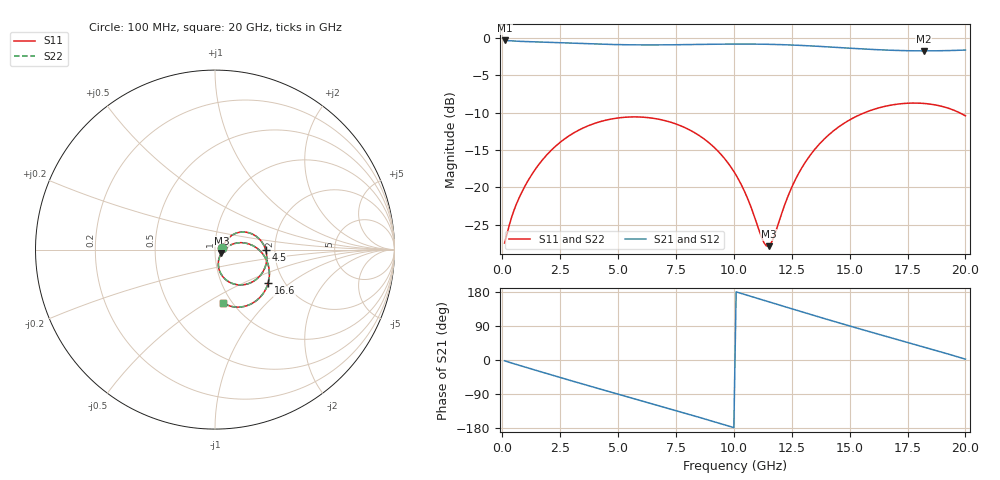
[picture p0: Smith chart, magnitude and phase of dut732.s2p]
! Touchstone file exported from HFSS 2026.1.0
!  File:  C:/ffzhzh/LocalFiles/Ansys_Project_Files/temp_train_TSV_RDL_732_1783203361_22436.aedt
!  Generated:  06:28:34 AM Jul  5, 2026
!  Design:  TSV_RDL
!  Project:  temp_train_TSV_RDL_732_1783203361_22436
! Variables:
!  h_bsmrdl = 2.41um
!  h_ox = 20um
!  h_rdl = 5um
!  h_sub = 92.15um
!  h_tmrdl = 3.79um
!  h_tsv = 92.15um
!  h_via = 3um
!  l_bsmrdl = 723.79um
!  l_sub = 5697.97um
!  l_tmrdl = 747.84um
!  m_sub = 200um
!  pitch = 32.09um
!  r_tsv = 2.32um
!  s_tmrdl = 10um
!  w_bsmrdl = 17.16um
!  w_sub = 500um
!  w_tmrdl = 27.92um
!  x_tsv_center1 = 761.8um
!  x_tsv_center2 = 1502.75um
!  x_tsv_center3 = 2278.51um
!  x_tsv_center4 = 3019.46um
!  x_tsv_center5 = 3795.22um
!  x_tsv_center6 = 4536.17um
# GHz S MA R 50.000000
! Terminal data exported
! Port[1] = TM_RDL1_1_T1
! Port[2] = TM_RDL5_1_T1
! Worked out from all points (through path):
!   200 points, 100 MHz to 20 GHz, reference 50 ohm
!   highest |S21| = -0.36 dB at 100 MHz (marker M1); lowest = -1.8 dB at 18.2 GHz (marker M2)
!   group delay of S21, straight-line fit = 49.7 ps
!   lowest |S11| = -27.9 dB at 11.5 GHz (marker M3), VSWR 1.08, Z = 53.7 - j1.96 ohm
!   |S11| at or under -10 dB: start of sweep to 15.66 GHz; 19.73 GHz to end of sweep
!   |S22| runs from -27.7 to -8.7 dB; largest |S21 - S12| = 2.5e-14
!   S11 on the Smith chart (normalised r, x): 100 MHz: 1.09, +0.02; 4.5 GHz: 1.79, -0.00; 16.6 GHz: 1.65, -0.70; 20 GHz: 0.91, -0.60
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0.1  0.0425 14.5  0.9592 -2.1  0.9592 -2.1  0.0425 14.5
! Gamma 0 0 0 0
! Port Impedance 50 0 50 0
0.6  0.0767 37.8  0.9484 -11.6  0.9484 -11.6  0.07669 37.8
1.4  0.1304 39.8  0.9391 -26.2  0.9391 -26.2  0.1304 39.8
2.5  0.2002 28.9  0.9259 -46.2  0.9259 -46.2  0.2002 28.9
3.5  0.2498 14.9  0.9135 -63.9  0.9135 -63.9  0.2498 15.0
4.5  0.282 -0.0  0.9033 -81.4  0.9033 -81.4  0.2819 0.0
5.6  0.2958 -16.8  0.8968 -100.4  0.8968 -100.4  0.2957 -16.8
6.8  0.2845 -35.2  0.8959 -121.2  0.8959 -121.2  0.2845 -35.1
8.6  0.217 -61.7  0.9027 -153.0  0.9027 -153.0  0.2171 -61.5
9.4  0.1692 -72.0  0.9062 -167.5  0.9062 -167.5  0.1692 -71.8
10.1  0.1205 -78.1  0.9079 179.7  0.9079 179.7  0.1206 -77.8
10.6  0.0839 -77.5  0.9078 170.5  0.9078 170.5  0.08415 -77.1
11.3  0.04271 -47.4  0.9054 157.5  0.9054 157.5  0.04328 -47.1
11.5  0.04048 -26.8  0.9042 153.8  0.9042 153.8  0.0411 -26.8
11.7  0.0455 -7.6  0.9027 150.1  0.9027 150.1  0.04607 -7.8
12.6  0.1081 17.5  0.8929 133.4  0.8929 133.4  0.1083 17.2
13.4  0.1722 12.3  0.8807 118.6  0.8807 118.6  0.1724 12.1
14.9  0.2766 -7.4  0.8535 91.6  0.8535 91.6  0.2767 -7.4
16.6  0.35 -32.3  0.827 61.9  0.827 61.9  0.3501 -32.3
16.7  0.3526 -33.8  0.8259 60.2  0.8259 60.2  0.3526 -33.8
18.2  0.364 -55.7  0.8171 34.3  0.8171 34.3  0.3641 -55.7
20  0.3005 -81.0  0.8274 2.3  0.8274 2.3  0.3005 -81.0
